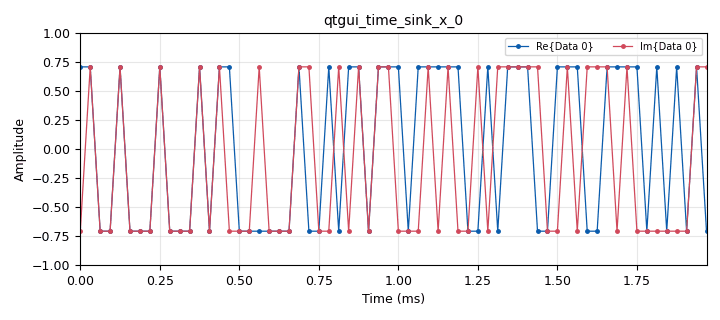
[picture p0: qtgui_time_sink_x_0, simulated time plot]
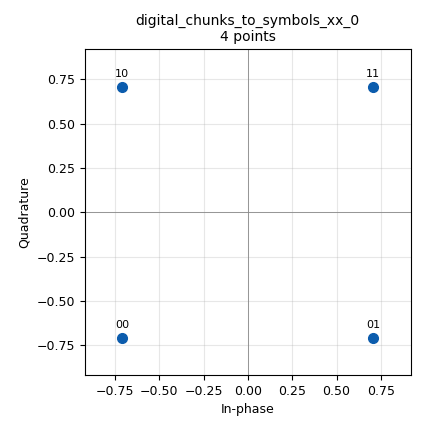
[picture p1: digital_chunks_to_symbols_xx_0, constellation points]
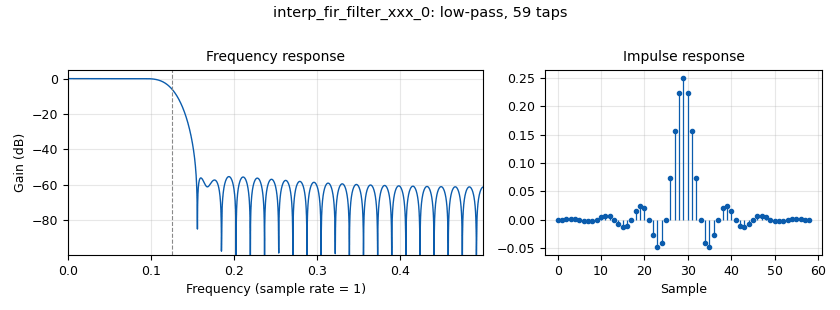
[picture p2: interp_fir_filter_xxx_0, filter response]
<?xml version='1.0' encoding='utf-8'?>
<?grc format='1' created='3.7.12'?>
<flow_graph>
<block>
<key>options</key>
<param><key>id</key><value>modulation_and_coding_scheme</value></param>
<param><key>author</key><value>Garrett Vanhoy</value></param>
<param><key>description</key><value>Generate symbols for an arbitrary coding rate and modulation scheme</value></param>
<param><key>generate_options</key><value>qt_gui</value></param>
<param><key>title</key><value>Modulation and Coding Scheme</value></param>
</block>
<block>
<key>variable</key>
<param><key>id</key><value>L</value></param>
<param><key>value</key><value>Np/4</value></param>
</block>
<block>
<key>variable</key>
<param><key>id</key><value>Np</value></param>
<param><key>value</key><value>32</value></param>
</block>
<block>
<key>variable</key>
<param><key>id</key><value>P</value></param>
<param><key>value</key><value>256</value></param>
</block>
<block>
<key>variable_constellation</key>
<param><key>id</key><value>const</value></param>
<param><key>type</key><value>qpsk</value></param>
<param><key>precision</key><value>8</value></param>
</block>
<block>
<key>variable_dummy_encoder_def</key>
<param><key>id</key><value>dummy_cc</value></param>
<param><key>framebits</key><value>2048</value></param>
<param><key>ndim</key><value>0</value></param>
</block>
<block>
<key>variable_cc_encoder_def</key>
<param><key>id</key><value>enc_cc</value></param>
<param><key>padding</key><value>False</value></param>
<param><key>k</key><value>7</value></param>
<param><key>framebits</key><value>2048</value></param>
<param><key>ndim</key><value>0</value></param>
<param><key>polys</key><value>[79,109]</value></param>
<param><key>rate</key><value>2</value></param>
<param><key>state_start</key><value>0</value></param>
<param><key>mode</key><value>fec.CC_STREAMING</value></param>
</block>
<block>
<key>variable</key>
<param><key>id</key><value>num_samples</value></param>
<param><key>value</key><value>1000</value></param>
</block>
<block>
<key>variable</key>
<param><key>id</key><value>samp_rate</value></param>
<param><key>value</key><value>32000</value></param>
</block>
<block>
<key>variable</key>
<param><key>id</key><value>snr_db</value></param>
<param><key>value</key><value>10</value></param>
</block>
<block>
<key>analog_random_source_x</key>
<param><key>id</key><value>analog_random_source_x_0</value></param>
<param><key>max</key><value>256</value></param>
<param><key>min</key><value>0</value></param>
<param><key>num_samps</key><value>10000</value></param>
<param><key>type</key><value>byte</value></param>
<param><key>repeat</key><value>True</value></param>
</block>
<block>
<key>analog_sig_source_x</key>
<param><key>id</key><value>analog_sig_source_x_0</value></param>
<param><key>amp</key><value>1</value></param>
<param><key>freq</key><value>samp_rate/4</value></param>
<param><key>offset</key><value>0</value></param>
<param><key>type</key><value>complex</value></param>
<param><key>samp_rate</key><value>samp_rate</value></param>
<param><key>waveform</key><value>analog.GR_COS_WAVE</value></param>
</block>
<block>
<key>blocks_complex_to_real</key>
<param><key>id</key><value>blocks_complex_to_real_0</value></param>
</block>
<block>
<key>blocks_float_to_complex</key>
<param><key>id</key><value>blocks_float_to_complex_0</value></param>
</block>
<block>
<key>blocks_multiply_xx</key>
<param><key>id</key><value>blocks_multiply_xx_0</value></param>
<param><key>type</key><value>complex</value></param>
</block>
<block>
<key>blocks_null_sink</key>
<param><key>id</key><value>blocks_null_sink_0</value></param>
<param><key>bus_conns</key><value>[[0,],]</value></param>
<param><key>type</key><value>float</value></param>
<param><key>vlen</key><value>2*Np</value></param>
</block>
<block>
<key>blocks_null_source</key>
<param><key>id</key><value>blocks_null_source_0</value></param>
<param><key>bus_conns</key><value>[[0,],]</value></param>
<param><key>type</key><value>float</value></param>
</block>
<block>
<key>blocks_repack_bits_bb</key>
<param><key>id</key><value>blocks_repack_bits_bb_0</value></param>
<param><key>k</key><value>1</value></param>
<param><key>l</key><value>int(np.log2(const.arity()))</value></param>
<param><key>endianness</key><value>gr.GR_LSB_FIRST</value></param>
</block>
<block>
<key>blocks_throttle</key>
<param><key>id</key><value>blocks_throttle_0</value></param>
<param><key>samples_per_second</key><value>samp_rate</value></param>
<param><key>type</key><value>complex</value></param>
</block>
<block>
<key>channels_channel_model</key>
<param><key>id</key><value>channels_channel_model_0</value></param>
<param><key>epsilon</key><value>1.0</value></param>
<param><key>freq_offset</key><value>0.0</value></param>
<param><key>noise_voltage</key><value>10.0**(-snr_db/20.0)</value></param>
<param><key>seed</key><value>0</value></param>
<param><key>taps</key><value>1.0</value></param>
</block>
<block>
<key>digital_chunks_to_symbols_xx</key>
<param><key>id</key><value>digital_chunks_to_symbols_xx_0</value></param>
<param><key>dimension</key><value>1</value></param>
<param><key>in_type</key><value>byte</value></param>
<param><key>out_type</key><value>complex</value></param>
<param><key>symbol_table</key><value>const.points()</value></param>
</block>
<block>
<key>fec_extended_encoder</key>
<param><key>id</key><value>fec_extended_encoder_0</value></param>
<param><key>encoder_list</key><value>enc_cc</value></param>
<param><key>puncpat</key><value>'11'</value></param>
<param><key>threadtype</key><value>capillary</value></param>
</block>
<block>
<key>interp_fir_filter_xxx</key>
<param><key>id</key><value>interp_fir_filter_xxx_0</value></param>
<param><key>interp</key><value>4</value></param>
<param><key>taps</key><value>firdes.low_pass_2(1, 1, 1/8.0, 1/16.0, 80)</value></param>
<param><key>type</key><value>ccc</value></param>
</block>
<block>
<key>import</key>
<param><key>id</key><value>numpy</value></param>
<param><key>import</key><value>import numpy as np</value></param>
</block>
<block>
<key>qtgui_time_sink_x</key>
<param><key>id</key><value>qtgui_time_sink_x_0</value></param>
<param><key>grid</key><value>True</value></param>
<param><key>color1</key><value>"blue"</value></param>
<param><key>label1</key><value></value></param>
<param><key>marker1</key><value>0</value></param>
<param><key>style1</key><value>2</value></param>
<param><key>color2</key><value>"red"</value></param>
<param><key>label2</key><value></value></param>
<param><key>marker2</key><value>1</value></param>
<param><key>style2</key><value>2</value></param>
<param><key>size</key><value>64</value></param>
<param><key>srate</key><value>samp_rate</value></param>
<param><key>type</key><value>complex</value></param>
</block>
<block>
<key>specest_cyclo_fam</key>
<param><key>id</key><value>specest_cyclo_fam_0</value></param>
<param><key>Np</key><value>Np</value></param>
<param><key>L</key><value>Np/4</value></param>
<param><key>P</key><value>P</value></param>
</block>
<connection><source_block_id>analog_random_source_x_0</source_block_id><sink_block_id>fec_extended_encoder_0</sink_block_id><source_key>0</source_key><sink_key>0</sink_key></connection>
<connection><source_block_id>analog_sig_source_x_0</source_block_id><sink_block_id>blocks_multiply_xx_0</sink_block_id><source_key>0</source_key><sink_key>1</sink_key></connection>
<connection><source_block_id>blocks_complex_to_real_0</source_block_id><sink_block_id>blocks_float_to_complex_0</sink_block_id><source_key>0</source_key><sink_key>0</sink_key></connection>
<connection><source_block_id>blocks_float_to_complex_0</source_block_id><sink_block_id>specest_cyclo_fam_0</sink_block_id><source_key>0</source_key><sink_key>0</sink_key></connection>
<connection><source_block_id>blocks_multiply_xx_0</source_block_id><sink_block_id>channels_channel_model_0</sink_block_id><source_key>0</source_key><sink_key>0</sink_key></connection>
<connection><source_block_id>blocks_null_source_0</source_block_id><sink_block_id>blocks_float_to_complex_0</sink_block_id><source_key>0</source_key><sink_key>1</sink_key></connection>
<connection><source_block_id>blocks_repack_bits_bb_0</source_block_id><sink_block_id>digital_chunks_to_symbols_xx_0</sink_block_id><source_key>0</source_key><sink_key>0</sink_key></connection>
<connection><source_block_id>blocks_throttle_0</source_block_id><sink_block_id>blocks_complex_to_real_0</sink_block_id><source_key>0</source_key><sink_key>0</sink_key></connection>
<connection><source_block_id>channels_channel_model_0</source_block_id><sink_block_id>blocks_throttle_0</sink_block_id><source_key>0</source_key><sink_key>0</sink_key></connection>
<connection><source_block_id>digital_chunks_to_symbols_xx_0</source_block_id><sink_block_id>interp_fir_filter_xxx_0</sink_block_id><source_key>0</source_key><sink_key>0</sink_key></connection>
<connection><source_block_id>digital_chunks_to_symbols_xx_0</source_block_id><sink_block_id>qtgui_time_sink_x_0</sink_block_id><source_key>0</source_key><sink_key>0</sink_key></connection>
<connection><source_block_id>fec_extended_encoder_0</source_block_id><sink_block_id>blocks_repack_bits_bb_0</sink_block_id><source_key>0</source_key><sink_key>0</sink_key></connection>
<connection><source_block_id>interp_fir_filter_xxx_0</source_block_id><sink_block_id>blocks_multiply_xx_0</sink_block_id><source_key>0</source_key><sink_key>0</sink_key></connection>
<connection><source_block_id>specest_cyclo_fam_0</source_block_id><sink_block_id>blocks_null_sink_0</sink_block_id><source_key>0</source_key><sink_key>0</sink_key></connection>
</flow_graph>
